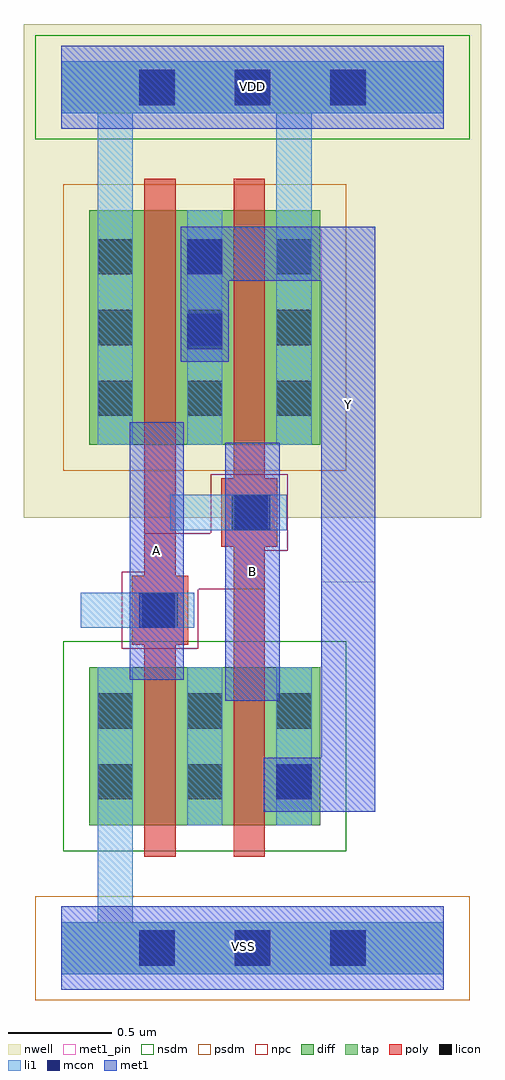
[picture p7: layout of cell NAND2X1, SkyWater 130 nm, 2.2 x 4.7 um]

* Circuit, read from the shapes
.subckt NAND2X1 A B VDD VSS Y
XM1 n1 A VSS VSS sky130_fd_pr__nfet_01v8 w=0.76 l=0.15
XM2 Y B n1 VSS sky130_fd_pr__nfet_01v8 w=0.76 l=0.15
XM3 Y A VDD VDD sky130_fd_pr__pfet_01v8 w=1.13 l=0.15
XM4 VDD B Y VDD sky130_fd_pr__pfet_01v8 w=1.13 l=0.15
.ends

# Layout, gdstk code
import gdstk
lib = gdstk.Library(unit=1e-6, precision=1e-09)
def R(c, l, rs):  # rectangles x0, y0, x1, y1
    for r in rs: c.add(gdstk.rectangle(r[:2], r[2:], *l))
def A(c, l, x, y, w, h, nx, ny, dx, dy):  # array of equal rectangles
    R(c, l, [(x+i*dx, y+j*dy, x+i*dx+w, y+j*dy+h) for i in range(nx) for j in range(ny)])
nwell = (64, 20)
diff = (65, 20)
tap = (65, 44)
poly = (66, 20)
licon = (66, 44)
li1 = (67, 20)
mcon = (67, 44)
met1_pin = (68, 16)
met1 = (68, 20)
nsdm = (93, 44)
psdm = (94, 20)
npc = (95, 20)

nand2x1 = lib.new_cell('NAND2X1')
R(nand2x1, nwell, [(-0.18,2.07,2.02,4.445)])
R(nand2x1, diff, [(0.135,0.59,1.245,1.35), (0.135,2.42,1.245,3.55)])
R(nand2x1, tap, [(0,-0.125,1.84,0.125), (0,4.015,1.84,4.265)])
R(nand2x1, poly, [(0.4,0.44,0.55,1.46), (0.83,0.44,0.98,1.93), (0.34,1.46,0.61,1.79), (0.4,1.79,0.55,3.7), (0.77,1.93,1.04,2.26), (0.83,2.26,0.98,3.7)])
A(nand2x1, licon, 0.375, -0.085, 0.17, 0.17, 3, 2, 0.46, 4.14)
A(nand2x1, licon, 0.175, 0.715, 0.17, 0.17, 3, 2, 0.43, 0.34)
A(nand2x1, licon, 0.175, 2.56, 0.17, 0.17, 3, 3, 0.43, 0.34)
R(nand2x1, licon, [(0.39,1.54,0.56,1.71), (0.82,2.01,0.99,2.18)])
R(nand2x1, li1, [(0,-0.125,1.84,0.125), (0.175,0.125,0.345,1.35), (0.605,0.59,0.775,1.35), (1.035,0.59,1.205,1.35), (0.095,1.54,0.64,1.71), (0.525,2.01,1.085,2.18), (0.175,2.42,0.345,4.015), (0.605,2.42,0.775,3.55), (1.035,2.42,1.205,4.015), (0,4.015,1.84,4.265)])
A(nand2x1, mcon, 0.375, -0.085, 0.17, 0.17, 3, 2, 0.46, 4.14)
R(nand2x1, mcon, [(1.035,0.715,1.205,0.885), (0.375,1.54,0.545,1.71), (0.835,2.01,1.005,2.18), (0.605,2.88,0.775,3.05), (0.605,3.24,0.775,3.41)])
R(nand2x1, met1_pin, [(0.79,1.19,1.05,2.43), (0.33,1.29,0.59,2.53), (1.25,1.76,1.51,3.47)])
R(nand2x1, met1, [(0,-0.2,1.84,0.2), (0.975,0.655,1.51,0.915), (1.25,0.915,1.51,3.21), (0.79,1.19,1.05,2.43), (0.33,1.29,0.59,2.53), (0.575,2.82,0.805,3.21), (0.575,3.21,1.51,3.47), (0,3.94,1.84,4.34)])
R(nand2x1, nsdm, [(0.01,0.465,1.37,1.475), (-0.125,3.89,1.965,4.39)])
R(nand2x1, psdm, [(-0.125,-0.25,1.965,0.25), (0.01,2.295,1.37,3.675)])
R(nand2x1, npc, [(0.29,1.44,0.66,1.725), (0.29,1.725,0.98,1.81), (0.4,1.81,0.98,1.91), (0.4,1.91,1.09,1.995), (0.72,1.995,1.09,2.28)])
nand2x1.add(gdstk.Label('VDD', (0.92,4.145), layer=68, texttype=5))
nand2x1.add(gdstk.Label('VSS', (0.875,0.005), layer=68, texttype=5))
nand2x1.add(gdstk.Label('Y', (1.38,2.615), layer=68, texttype=5))
nand2x1.add(gdstk.Label('B', (0.92,1.81), layer=68, texttype=5))
nand2x1.add(gdstk.Label('A', (0.46,1.91), layer=68, texttype=5))

lib.write_gds('NAND2X1.gds')
